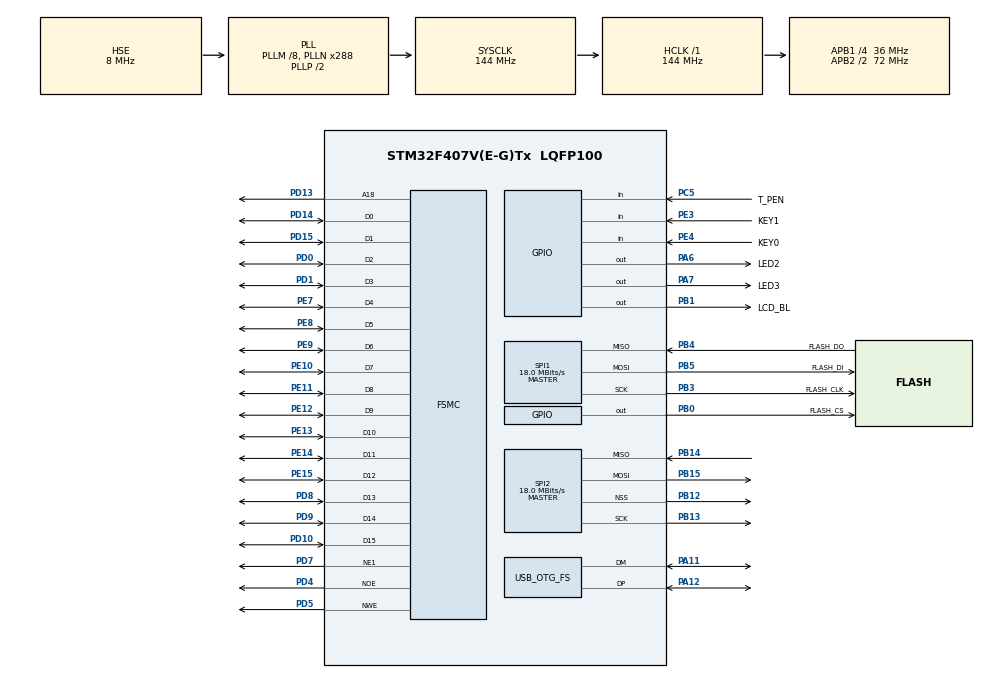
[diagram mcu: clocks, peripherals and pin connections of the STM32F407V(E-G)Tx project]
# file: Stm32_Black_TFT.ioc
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FREERTOS.Tasks01=defaultTask,24,128,StartDefaultTask,Default,NULL,Dynamic,NULL,NULL;BlinkTask,8,128,StartBlinkTask,Default,NULL,Dynamic,NULL,NULL
FREERTOS.configUSE_NEWLIB_REENTRANT=1
FSMC.ExtendedMode1=FSMC_EXTENDED_MODE_DISABLE
Mcu.Family=STM32F4
Mcu.Name=STM32F407V(E-G)Tx
Mcu.Package=LQFP100
NVIC.PriorityGroup=NVIC_PRIORITYGROUP_4
NVIC.SPI1_IRQn=true\:5\:0\:false\:false\:true\:true\:true\:true\:true
NVIC.SPI2_IRQn=true\:5\:0\:false\:false\:true\:true\:true\:true\:true
NVIC.TIM8_UP_TIM13_IRQn=true\:15\:0\:false\:false\:true\:false\:false\:true\:true
NVIC.TimeBase=TIM8_UP_TIM13_IRQn
NVIC.TimeBaseIP=TIM13
PA0-WKUP.Mode=SYS_WakeUp0
PA0-WKUP.Signal=SYS_WKUP
PA11.Mode=Host_Only
PA11.Signal=USB_OTG_FS_DM
PA12.Mode=Host_Only
PA12.Signal=USB_OTG_FS_DP
PA13.Mode=Serial_Wire
PA13.Signal=SYS_JTMS-SWDIO
PA14.Mode=Serial_Wire
PA14.Signal=SYS_JTCK-SWCLK
PA6.GPIO_Label=LED2
PA6.PinState=GPIO_PIN_SET
PA6.Signal=GPIO_Output
PA7.GPIO_Label=LED3
PA7.PinState=GPIO_PIN_SET
PA7.Signal=GPIO_Output
PB0.GPIO_Label=FLASH_CS
PB0.GPIO_PuPd=GPIO_PULLDOWN
PB0.GPIO_Speed=GPIO_SPEED_FREQ_MEDIUM
PB0.PinState=GPIO_PIN_SET
PB0.Signal=GPIO_Output
PB1.GPIO_Label=LCD_BL
PB1.GPIO_PuPd=GPIO_PULLUP
PB1.PinState=GPIO_PIN_SET
PB1.Signal=GPIO_Output
PB12.Mode=NSS_Signal_Hard_Output
PB12.Signal=SPI2_NSS
PB13.Mode=Full_Duplex_Master
PB13.Signal=SPI2_SCK
PB14.Mode=Full_Duplex_Master
PB14.Signal=SPI2_MISO
PB15.Mode=Full_Duplex_Master
PB15.Signal=SPI2_MOSI
PB3.GPIO_Label=FLASH_CLK
PB3.GPIO_PuPd=GPIO_NOPULL
PB3.Mode=Full_Duplex_Master
PB3.Signal=SPI1_SCK
PB4.GPIO_Label=FLASH_DO
PB4.Mode=Full_Duplex_Master
PB4.Signal=SPI1_MISO
PB5.GPIO_Label=FLASH_DI
PB5.Mode=Full_Duplex_Master
PB5.Signal=SPI1_MOSI
PC14-OSC32_IN.Mode=LSE-External-Oscillator
PC14-OSC32_IN.Signal=RCC_OSC32_IN
PC15-OSC32_OUT.Mode=LSE-External-Oscillator
PC15-OSC32_OUT.Signal=RCC_OSC32_OUT
PC5.GPIO_Label=T_PEN
PC5.GPIO_PuPd=GPIO_NOPULL
PC5.Signal=GPIO_Input
PD0.Mode=16b-d1
PD0.Signal=FSMC_D2
PD1.Mode=16b-d1
PD1.Signal=FSMC_D3
PD10.Mode=16b-d1
PD10.Signal=FSMC_D15
PD13.Mode=A18_1
PD13.Signal=FSMC_A18
PD14.Mode=16b-d1
PD14.Signal=FSMC_D0
PD15.Mode=16b-d1
PD15.Signal=FSMC_D1
PD4.Mode=Lcd1
PD4.Signal=FSMC_NOE
PD5.Mode=Lcd1
PD5.Signal=FSMC_NWE
PD7.Mode=NorPsramChipSelect1_1
PD7.Signal=FSMC_NE1
PD8.Mode=16b-d1
PD8.Signal=FSMC_D13
PD9.Mode=16b-d1
PD9.Signal=FSMC_D14
PE10.Mode=16b-d1
PE10.Signal=FSMC_D7
PE11.Mode=16b-d1
PE11.Signal=FSMC_D8
PE12.Mode=16b-d1
PE12.Signal=FSMC_D9
PE13.Mode=16b-d1
PE13.Signal=FSMC_D10
PE14.Mode=16b-d1
PE14.Signal=FSMC_D11
PE15.Mode=16b-d1
PE15.Signal=FSMC_D12
PE3.GPIO_Label=KEY1
PE3.Signal=GPIO_Input
PE4.GPIO_Label=KEY0
PE4.Signal=GPIO_Input
PE7.Mode=16b-d1
PE7.Signal=FSMC_D4
PE8.Mode=16b-d1
PE8.Signal=FSMC_D5
PE9.Mode=16b-d1
PE9.Signal=FSMC_D6
PH0-OSC_IN.Mode=HSE-External-Oscillator
PH0-OSC_IN.Signal=RCC_OSC_IN
PH1-OSC_OUT.Mode=HSE-External-Oscillator
PH1-OSC_OUT.Signal=RCC_OSC_OUT
ProjectManager.HeapSize=0x200
ProjectManager.StackSize=0x400
ProjectManager.TargetToolchain=CMake
RCC.48MHZClocksFreq_Value=48000000
RCC.AHBFreq_Value=144000000
RCC.APB1CLKDivider=RCC_HCLK_DIV4
RCC.APB1Freq_Value=36000000
RCC.APB1TimFreq_Value=72000000
RCC.APB2CLKDivider=RCC_HCLK_DIV2
RCC.APB2Freq_Value=72000000
RCC.APB2TimFreq_Value=144000000
RCC.CortexFreq_Value=144000000
RCC.HCLKFreq_Value=144000000
RCC.HSE_VALUE=8000000
RCC.HSI_VALUE=16000000
RCC.PLLM=8
RCC.PLLN=288
RCC.PLLQ=6
RCC.RCC_RTC_Clock_Source=RCC_RTCCLKSOURCE_LSE
RCC.RCC_RTC_Clock_SourceVirtual=RCC_RTCCLKSOURCE_LSE
RCC.SYSCLKFreq_VALUE=144000000
RCC.SYSCLKSource=RCC_SYSCLKSOURCE_PLLCLK
RCC.VCOOutputFreq_Value=288000000
SPI1.BaudRatePrescaler=SPI_BAUDRATEPRESCALER_4
SPI1.CLKPolarity=SPI_POLARITY_LOW
SPI1.CalculateBaudRate=18.0 MBits/s
SPI1.Direction=SPI_DIRECTION_2LINES
SPI1.Mode=SPI_MODE_MASTER
SPI1.VirtualType=VM_MASTER
SPI2.CalculateBaudRate=18.0 MBits/s
SPI2.Direction=SPI_DIRECTION_2LINES
SPI2.Mode=SPI_MODE_MASTER
SPI2.VirtualNSS=VM_NSSHARD
SPI2.VirtualType=VM_MASTER
USB_OTG_FS.VirtualMode=Host_Only
USB_OTG_FS.phy_itface=HCD_PHY_EMBEDDED
VP_FREERTOS_VS_CMSIS_V2.Mode=CMSIS_V2
VP_RTC_VS_RTC_Activate.Mode=RTC_Enabled
VP_SYS_VS_tim13.Mode=TIM13
board=custom

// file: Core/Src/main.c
/* USER CODE BEGIN Header */
/**
  ******************************************************************************
  * @file           : main.c
  * @brief          : Main program body
  ******************************************************************************
  * @attention
  *
  * Copyright (c) 2026 STMicroelectronics.
  * All rights reserved.
  *
  * This software is licensed under terms that can be found in the LICENSE file
  * in the root directory of this software component.
  * If no LICENSE file comes with this software, it is provided AS-IS.
  *
  ******************************************************************************
  */
/* USER CODE END Header */
#include "main.h"
#include "cmsis_os.h"

/* USER CODE BEGIN Includes */
#include "board.h"
#include "app.hpp"
#include "flash_wq25xx.h"
/* USER CODE END Includes */

RTC_HandleTypeDef hrtc;

SPI_HandleTypeDef hspi1;
SPI_HandleTypeDef hspi2;
DMA_HandleTypeDef hdma_spi1_rx;
DMA_HandleTypeDef hdma_spi1_tx;

HCD_HandleTypeDef hhcd_USB_OTG_FS;

SRAM_HandleTypeDef hsram1;

/* Definitions for defaultTask */
osThreadId_t defaultTaskHandle;
const osThreadAttr_t defaultTask_attributes = {
  .name = "defaultTask",
  .stack_size = 128 * 4,
  .priority = (osPriority_t) osPriorityNormal,
};
/* Definitions for BlinkTask */
osThreadId_t BlinkTaskHandle;
const osThreadAttr_t BlinkTask_attributes = {
  .name = "BlinkTask",
  .stack_size = 128 * 4,
  .priority = (osPriority_t) osPriorityLow,
};

void SystemClock_Config(void);
static void MX_GPIO_Init(void);
static void MX_RTC_Init(void);
static void MX_FSMC_Init(void);
static void MX_SPI2_Init(void);
static void MX_USB_OTG_FS_HCD_Init(void);
static void MX_SPI1_Init(void);
void StartDefaultTask(void *argument);
void StartBlinkTask(void *argument);

int main(void)
{

  /* MCU Configuration--------------------------------------------------------*/

  /* Reset of all peripherals, Initializes the Flash interface and the Systick. */
  HAL_Init();

  /* Configure the system clock */
  SystemClock_Config();

  /* Initialize all configured peripherals */
  MX_GPIO_Init();
  MX_RTC_Init();
  MX_FSMC_Init();
  MX_SPI2_Init();
  MX_USB_OTG_FS_HCD_Init();
  MX_SPI1_Init();

  /* USER CODE BEGIN 2 */
  fls_Init();
  AppInit();

  /* USER CODE END 2 */

  /* Init scheduler */
  osKernelInitialize();

  /* Create the thread(s) */
  /* creation of defaultTask */
  defaultTaskHandle = osThreadNew(StartDefaultTask, NULL, &defaultTask_attributes);

  /* creation of BlinkTask */
  BlinkTaskHandle = osThreadNew(StartBlinkTask, NULL, &BlinkTask_attributes);

  /* Start scheduler */
  osKernelStart();

  /* We should never get here as control is now taken by the scheduler */

  /* Infinite loop */
  while (1)
  {

  }
}

void SystemClock_Config(void)
{
  RCC_OscInitTypeDef RCC_OscInitStruct = {0};
  RCC_ClkInitTypeDef RCC_ClkInitStruct = {0};

  /** Configure the main internal regulator output voltage
  */
  __HAL_RCC_PWR_CLK_ENABLE();
  __HAL_PWR_VOLTAGESCALING_CONFIG(PWR_REGULATOR_VOLTAGE_SCALE1);

  /** Initializes the RCC Oscillators according to the specified parameters
  * in the RCC_OscInitTypeDef structure.
  */
  RCC_OscInitStruct.OscillatorType = RCC_OSCILLATORTYPE_HSE|RCC_OSCILLATORTYPE_LSE;
  RCC_OscInitStruct.HSEState = RCC_HSE_ON;
  RCC_OscInitStruct.LSEState = RCC_LSE_ON;
  RCC_OscInitStruct.PLL.PLLState = RCC_PLL_ON;
  RCC_OscInitStruct.PLL.PLLSource = RCC_PLLSOURCE_HSE;
  RCC_OscInitStruct.PLL.PLLM = 8;
  RCC_OscInitStruct.PLL.PLLN = 288;
  RCC_OscInitStruct.PLL.PLLP = RCC_PLLP_DIV2;
  RCC_OscInitStruct.PLL.PLLQ = 6;
  if (HAL_RCC_OscConfig(&RCC_OscInitStruct) != HAL_OK)
  {
    Error_Handler();
  }

  /** Initializes the CPU, AHB and APB buses clocks
  */
  RCC_ClkInitStruct.ClockType = RCC_CLOCKTYPE_HCLK|RCC_CLOCKTYPE_SYSCLK
                              |RCC_CLOCKTYPE_PCLK1|RCC_CLOCKTYPE_PCLK2;
  RCC_ClkInitStruct.SYSCLKSource = RCC_SYSCLKSOURCE_PLLCLK;
  RCC_ClkInitStruct.AHBCLKDivider = RCC_SYSCLK_DIV1;
  RCC_ClkInitStruct.APB1CLKDivider = RCC_HCLK_DIV4;
  RCC_ClkInitStruct.APB2CLKDivider = RCC_HCLK_DIV2;

  if (HAL_RCC_ClockConfig(&RCC_ClkInitStruct, FLASH_LATENCY_4) != HAL_OK)
  {
    Error_Handler();
  }
}

static void MX_RTC_Init(void)
{

  /** Initialize RTC Only
  */
  hrtc.Instance = RTC;
  hrtc.Init.HourFormat = RTC_HOURFORMAT_24;
  hrtc.Init.AsynchPrediv = 127;
  hrtc.Init.SynchPrediv = 255;
  hrtc.Init.OutPut = RTC_OUTPUT_DISABLE;
  hrtc.Init.OutPutPolarity = RTC_OUTPUT_POLARITY_HIGH;
  hrtc.Init.OutPutType = RTC_OUTPUT_TYPE_OPENDRAIN;
  if (HAL_RTC_Init(&hrtc) != HAL_OK)
  {
    Error_Handler();
  }

}

static void MX_SPI1_Init(void)
{

  /* SPI1 parameter configuration*/
  hspi1.Instance = SPI1;
  hspi1.Init.Mode = SPI_MODE_MASTER;
  hspi1.Init.Direction = SPI_DIRECTION_2LINES;
  hspi1.Init.DataSize = SPI_DATASIZE_8BIT;
  hspi1.Init.CLKPolarity = SPI_POLARITY_LOW;
  hspi1.Init.CLKPhase = SPI_PHASE_1EDGE;
  hspi1.Init.NSS = SPI_NSS_SOFT;
  hspi1.Init.BaudRatePrescaler = SPI_BAUDRATEPRESCALER_4;
  hspi1.Init.FirstBit = SPI_FIRSTBIT_MSB;
  hspi1.Init.TIMode = SPI_TIMODE_DISABLE;
  hspi1.Init.CRCCalculation = SPI_CRCCALCULATION_DISABLE;
  hspi1.Init.CRCPolynomial = 10;
  if (HAL_SPI_Init(&hspi1) != HAL_OK)
  {
    Error_Handler();
  }

}

static void MX_SPI2_Init(void)
{

  /* SPI2 parameter configuration*/
  hspi2.Instance = SPI2;
  hspi2.Init.Mode = SPI_MODE_MASTER;
  hspi2.Init.Direction = SPI_DIRECTION_2LINES;
  hspi2.Init.DataSize = SPI_DATASIZE_8BIT;
  hspi2.Init.CLKPolarity = SPI_POLARITY_LOW;
  hspi2.Init.CLKPhase = SPI_PHASE_1EDGE;
  hspi2.Init.NSS = SPI_NSS_HARD_OUTPUT;
  hspi2.Init.BaudRatePrescaler = SPI_BAUDRATEPRESCALER_2;
  hspi2.Init.FirstBit = SPI_FIRSTBIT_MSB;
  hspi2.Init.TIMode = SPI_TIMODE_DISABLE;
  hspi2.Init.CRCCalculation = SPI_CRCCALCULATION_DISABLE;
  hspi2.Init.CRCPolynomial = 10;
  if (HAL_SPI_Init(&hspi2) != HAL_OK)
  {
    Error_Handler();
  }

}

static void MX_USB_OTG_FS_HCD_Init(void)
{

  hhcd_USB_OTG_FS.Instance = USB_OTG_FS;
  hhcd_USB_OTG_FS.Init.Host_channels = 8;
  hhcd_USB_OTG_FS.Init.speed = HCD_SPEED_FULL;
  hhcd_USB_OTG_FS.Init.dma_enable = DISABLE;
  hhcd_USB_OTG_FS.Init.phy_itface = HCD_PHY_EMBEDDED;
  hhcd_USB_OTG_FS.Init.Sof_enable = DISABLE;
  if (HAL_HCD_Init(&hhcd_USB_OTG_FS) != HAL_OK)
  {
    Error_Handler();
  }

}

static void MX_GPIO_Init(void)
{
  GPIO_InitTypeDef GPIO_InitStruct = {0};

  /* GPIO Ports Clock Enable */
  __HAL_RCC_GPIOE_CLK_ENABLE();
  __HAL_RCC_GPIOC_CLK_ENABLE();
  __HAL_RCC_GPIOH_CLK_ENABLE();
  __HAL_RCC_GPIOA_CLK_ENABLE();
  __HAL_RCC_GPIOB_CLK_ENABLE();
  __HAL_RCC_GPIOD_CLK_ENABLE();

  /*Configure GPIO pin Output Level */
  HAL_GPIO_WritePin(GPIOA, LED2_Pin|LED3_Pin, GPIO_PIN_SET);

  /*Configure GPIO pin Output Level */
  HAL_GPIO_WritePin(GPIOB, FLASH_CS_Pin|LCD_BL_Pin, GPIO_PIN_SET);

  /*Configure GPIO pins : KEY1_Pin KEY0_Pin */
  GPIO_InitStruct.Pin = KEY1_Pin|KEY0_Pin;
  GPIO_InitStruct.Mode = GPIO_MODE_INPUT;
  GPIO_InitStruct.Pull = GPIO_NOPULL;
  HAL_GPIO_Init(GPIOE, &GPIO_InitStruct);

  /*Configure GPIO pins : LED2_Pin LED3_Pin */
  GPIO_InitStruct.Pin = LED2_Pin|LED3_Pin;
  GPIO_InitStruct.Mode = GPIO_MODE_OUTPUT_PP;
  GPIO_InitStruct.Pull = GPIO_NOPULL;
  GPIO_InitStruct.Speed = GPIO_SPEED_FREQ_LOW;
  HAL_GPIO_Init(GPIOA, &GPIO_InitStruct);

  /*Configure GPIO pin : T_PEN_Pin */
  GPIO_InitStruct.Pin = T_PEN_Pin;
  GPIO_InitStruct.Mode = GPIO_MODE_INPUT;
  GPIO_InitStruct.Pull = GPIO_NOPULL;
  HAL_GPIO_Init(T_PEN_GPIO_Port, &GPIO_InitStruct);

  /*Configure GPIO pin : FLASH_CS_Pin */
  GPIO_InitStruct.Pin = FLASH_CS_Pin;
  GPIO_InitStruct.Mode = GPIO_MODE_OUTPUT_PP;
  GPIO_InitStruct.Pull = GPIO_PULLDOWN;
  GPIO_InitStruct.Speed = GPIO_SPEED_FREQ_MEDIUM;
  HAL_GPIO_Init(FLASH_CS_GPIO_Port, &GPIO_InitStruct);

  /*Configure GPIO pin : LCD_BL_Pin */
  GPIO_InitStruct.Pin = LCD_BL_Pin;
  GPIO_InitStruct.Mode = GPIO_MODE_OUTPUT_PP;
  GPIO_InitStruct.Pull = GPIO_PULLUP;
  GPIO_InitStruct.Speed = GPIO_SPEED_FREQ_LOW;
  HAL_GPIO_Init(LCD_BL_GPIO_Port, &GPIO_InitStruct);

}

/* FSMC initialization function */
static void MX_FSMC_Init(void)
{

  FSMC_NORSRAM_TimingTypeDef Timing = {0};

  /** Perform the SRAM1 memory initialization sequence
  */
  hsram1.Instance = FSMC_NORSRAM_DEVICE;
  hsram1.Extended = FSMC_NORSRAM_EXTENDED_DEVICE;
  /* hsram1.Init */
  hsram1.Init.NSBank = FSMC_NORSRAM_BANK1;
  hsram1.Init.DataAddressMux = FSMC_DATA_ADDRESS_MUX_DISABLE;
  hsram1.Init.MemoryType = FSMC_MEMORY_TYPE_SRAM;
  hsram1.Init.MemoryDataWidth = FSMC_NORSRAM_MEM_BUS_WIDTH_16;
  hsram1.Init.BurstAccessMode = FSMC_BURST_ACCESS_MODE_DISABLE;
  hsram1.Init.WaitSignalPolarity = FSMC_WAIT_SIGNAL_POLARITY_LOW;
  hsram1.Init.WrapMode = FSMC_WRAP_MODE_DISABLE;
  hsram1.Init.WaitSignalActive = FSMC_WAIT_TIMING_BEFORE_WS;
  hsram1.Init.WriteOperation = FSMC_WRITE_OPERATION_ENABLE;
  hsram1.Init.WaitSignal = FSMC_WAIT_SIGNAL_DISABLE;
  hsram1.Init.ExtendedMode = FSMC_EXTENDED_MODE_DISABLE;
  hsram1.Init.AsynchronousWait = FSMC_ASYNCHRONOUS_WAIT_DISABLE;
  hsram1.Init.WriteBurst = FSMC_WRITE_BURST_DISABLE;
  hsram1.Init.PageSize = FSMC_PAGE_SIZE_NONE;
  /* Timing */
  Timing.AddressSetupTime = 15;
  Timing.AddressHoldTime = 15;
  Timing.DataSetupTime = 255;
  Timing.BusTurnAroundDuration = 15;
  Timing.CLKDivision = 16;
  Timing.DataLatency = 17;
  Timing.AccessMode = FSMC_ACCESS_MODE_A;
  /* ExtTiming */

  if (HAL_SRAM_Init(&hsram1, &Timing, NULL) != HAL_OK)
  {
    Error_Handler( );
  }

}

/* USER CODE BEGIN 4 */

void HAL_SPI_TxCpltCallback(SPI_HandleTypeDef *hspi)
{
  /* Prevent unused argument(s) compilation warning */
  if (hspi->Instance == SPI1)
  {
    /* code */
    fls_SPI_TransmitCompleteCallback();
  }
  /* NOTE : This function should not be modified, when the callback is needed,
            the HAL_SPI_TxCpltCallback should be implemented in the user file
   */
}

/**
  * @brief  Rx Transfer completed callback.
  * @param  hspi pointer to a SPI_HandleTypeDef structure that contains
  *               the configuration information for SPI module.
  * @retval None
  */
void HAL_SPI_RxCpltCallback(SPI_HandleTypeDef *hspi)
{
  /* Prevent unused argument(s) compilation warning */
  if (hspi->Instance == SPI1)
  {
    /* code */
    fls_SPI_ReceiveCompleteCallback();
  }

  /* NOTE : This function should not be modified, when the callback is needed,
            the HAL_SPI_RxCpltCallback should be implemented in the user file
   */
}

void HAL_SPI_TxRxCpltCallback(SPI_HandleTypeDef *hspi)
{
   if (hspi->Instance == SPI1)
   {
     fls_SPI_ReceiveCompleteCallback();
   }
}

void HAL_SPI_ErrorCallback(SPI_HandleTypeDef *hspi)
{
   if (hspi->Instance == SPI1)
   {
     fls_SPI_ErrorCallback();
   }
}

/* USER CODE END 4 */

void StartDefaultTask(void *argument)
{
  /* USER CODE BEGIN 5 */
  /* Infinite loop */
  for(;;)
  {
    fls_MainFunction();
    AppLoop();
  }
  /* USER CODE END 5 */
}

void StartBlinkTask(void *argument)
{
  /* USER CODE BEGIN StartBlinkTask */
  uint8_t read_buffer[13] = {0};

  uint8_t data_to_write[13] = {0xaa, 0xbb, 0xcc, 0xdd, 0xee, 0xff, 0x11, 0x22, 0x33, 0x44, 0x55, 0x66, 0x77};
  /* Infinite loop */
  for(;;)
  {
    if (fls_Write(0x000200, data_to_write, sizeof(data_to_write)) == E_OK)
    {
      while (fls_GetStatus() == FLS_BUSY)
      {
        osDelay(1);
      }
      if (fls_GetJobResult() == FLS_JOB_OK &&
          fls_Read(0x000200, read_buffer, sizeof(read_buffer)) == E_OK)
      {
        while (fls_GetStatus() == FLS_BUSY)
        {
          osDelay(1);
        }
      }
    }
    LedToggle(LED2);
	  osDelay(50);
	  LedToggle(LED2);
	  osDelay(950);
  }
  /* USER CODE END StartBlinkTask */
}

void HAL_TIM_PeriodElapsedCallback(TIM_HandleTypeDef *htim)
{
  if (htim->Instance == TIM13)
  {
    HAL_IncTick();
  }
}

void Error_Handler(void)
{
  __disable_irq();
  while (1)
  {
  }
}
